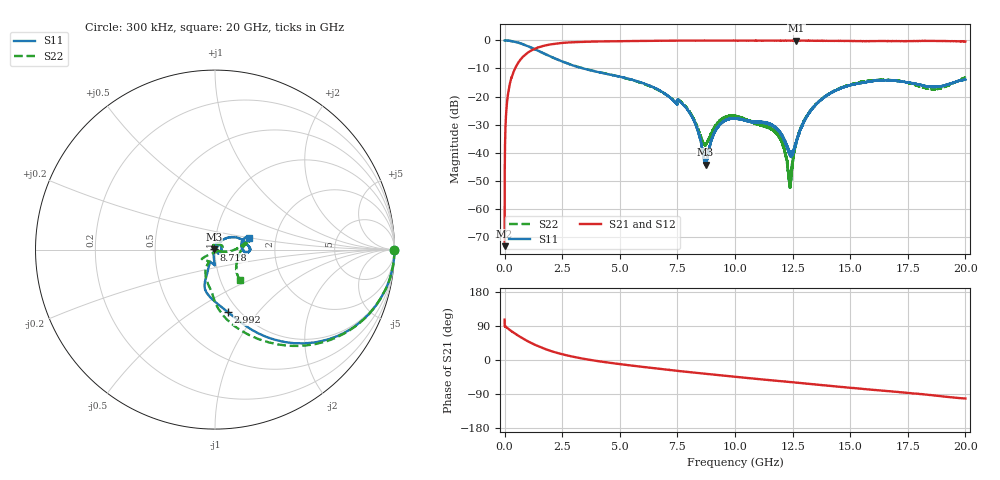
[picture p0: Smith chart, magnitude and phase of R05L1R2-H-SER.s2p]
!{R05L1R2}
!Johanson Technology Inc.
!www.johansontechnology.com
!Test Board Conditions:
!Substrate Type  RO4350B
!Substrate Thickness  10 mil
!Substrate Dk  3.66
!TL Type: GCPW
!TL Trace Width  22 mil
!TL Gap  25 mil
!Electrode orientation  Horizontal
!DUT TOPOLOGY	SERIES
!Mounting Pad LxW  11x14.5 mil
! Created Wed Nov 25 17:33:21 2020
! 2 Port Network Data from SP1.SP block
! freq  magS11  angS11  magS21  angS21  magS12  angS12  magS22  angS22
# khz S ma R 50
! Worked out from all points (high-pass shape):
!   20001 points, 300 kHz to 20 GHz, reference 50 ohm
!   highest |S21| = -0.03 dB at 12.67 GHz (marker M1); lowest = -73.4 dB at 300 kHz (marker M2)
!   |S21| within 3 dB of the highest: 1.296 GHz to end of sweep
!   lowest |S11| = -44.3 dB at 8.724 GHz (marker M3), VSWR 1.01, Z = 49.4 + j0.105 ohm
!   |S11| at or under -10 dB: 3.405069 GHz to 3.405875 GHz (805.6 kHz wide, 0.0237 % of centre); 3.407 GHz to end of sweep
!   |S22| runs from -53.3 to 0.0 dB; largest |S21 - S12| = 0.015
!   S11 on the Smith chart (normalised r, x): 300 kHz: open; 2.992 GHz: 0.89, -0.71; 8.718 GHz: 0.99, +0.00; 20 GHz: 1.46, +0.19
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300  0.9975 -0.2  0.0002143 106.6  0.0002088 81.2  0.9979 -0.2
101300  0.9965 -4.7  0.07586 85.2  0.07633 85.1  0.997 -4.7
127300  0.9951 -5.8  0.09518 84.0  0.09564 84.0  0.995 -5.8
464300  0.9441 -20.2  0.323 69.3  0.3242 69.3  0.9429 -20.3
1292300  0.7028 -47.9  0.7041 40.9  0.7048 40.8  0.7026 -49.8
2992300  0.3553 -78.4  0.9298 8.4  0.9293 8.4  0.3583 -84.0
3334300  0.322 -83.4  0.9421 4.4  0.942 4.3  0.3253 -87.2
6667300  0.1325 -108.4  0.9855 -22.9  0.9874 -22.9  0.1308 -114.0
7998300  0.05384 -95.8  0.9937 -31.9  0.9935 -31.9  0.0558 -142.8
8718300  0.006329 173.8  0.9938 -36.4  0.9939 -36.4  0.0137 -62.5
8724300  0.006091 169.9  0.9943 -36.4  0.9954 -36.4  0.01403 -59.1
9249300  0.02858 82.9  0.9929 -39.7  0.9941 -39.6  0.03414 4.7
1.00003e7  0.04023 53.1  0.9925 -44.3  0.9923 -44.2  0.04491 27.6
1.17953e7  0.0272 -48.0  0.9925 -54.8  0.9927 -54.8  0.02179 119.6
1.20903e7  0.01821 -49.6  0.9938 -56.5  0.9914 -56.5  0.01323 123.1
1.23783e7  0.009991 -18.8  0.9932 -58.2  0.9926 -58.2  0.002367 75.8
1.26683e7  0.01561 48.2  0.9967 -59.8  0.9947 -59.8  0.01607 -17.3
1.33343e7  0.05872 54.0  0.9888 -63.5  0.9926 -63.7  0.06078 -11.9
1.46463e7  0.1434 26.8  0.9778 -71.2  0.9817 -71.3  0.1453 7.7
1.66673e7  0.1943 -0.6  0.9761 -82.4  0.9676 -82.0  0.197 14.1
1.86473e7  0.1487 7.8  0.9826 -93.5  0.9762 -93.2  0.1348 -19.6
2e7  0.2007 18.1  0.9572 -101.7  0.9509 -101.5  0.2202 -51.1
